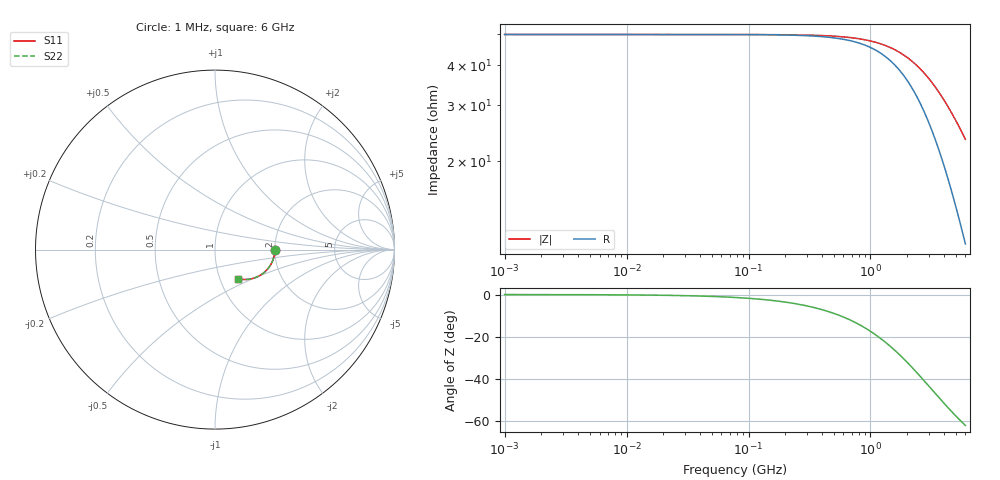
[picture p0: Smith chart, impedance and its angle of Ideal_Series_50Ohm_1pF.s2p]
! Ideal Series 50 Ohm || 1 pF  S2P
# Hz S RI R 50
! Hz ReS11 ImS11 ReS21 ImS21 ReS12 ImS12 ReS22 ImS22
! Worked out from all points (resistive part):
!   501 points, 1 MHz to 6 GHz, reference 50 ohm
!   read as one part in series: R = 50 ohm at 1.035 MHz
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1000000  0.3333 -7e-05  0.6667 7e-05  0.6667 7e-05  0.3333 -7e-05
4312503  0.3333 -0.000301  0.6667 0.000301  0.6667 0.000301  0.3333 -0.000301
1.82769e7  0.3333 -0.00128  0.6667 0.00128  0.6667 0.00128  0.3333 -0.00128
7.881918e7  0.3332 -0.0055  0.6668 0.0055  0.6668 0.0055  0.3332 -0.0055
1.754777e8  0.3329 -0.0122  0.6671 0.0122  0.6671 0.0122  0.3329 -0.0122
2.442258e8  0.3325 -0.017  0.6675 0.017  0.6675 0.017  0.3325 -0.017
3.34045e8  0.3317 -0.0232  0.6683 0.0232  0.6683 0.0232  0.3317 -0.0232
4.984252e8  0.3297 -0.0344  0.6703 0.0344  0.6703 0.0344  0.3297 -0.0344
7.182611e8  0.326 -0.049  0.674 0.049  0.674 0.049  0.326 -0.049
1.035058e9  0.3184 -0.069  0.6816 0.069  0.6816 0.069  0.3184 -0.069
1.210518e9  0.3132 -0.0794  0.6868 0.0794  0.6868 0.0794  0.3132 -0.0794
1.415723e9  0.3064 -0.0908  0.6936 0.0908  0.6936 0.0908  0.3064 -0.0908
1.744431e9  0.2941 -0.1074  0.7059 0.1074  0.7059 0.1074  0.2941 -0.1074
2.14946e9  0.2772 -0.1248  0.7228 0.1248  0.7228 0.1248  0.2772 -0.1248
2.602848e9  0.257 -0.1401  0.743 0.1401  0.743 0.1401  0.257 -0.1401
3.097503e9  0.2346 -0.1522  0.7654 0.1522  0.7654 0.1522  0.2346 -0.1522
3.622584e9  0.2116 -0.1605  0.7884 0.1605  0.7884 0.1605  0.2116 -0.1605
4.236675e9  0.1865 -0.1655  0.8135 0.1655  0.8135 0.1655  0.1865 -0.1655
4.621753e9  0.1721 -0.1666  0.8279 0.1666  0.8279 0.1666  0.1721 -0.1666
5.04183e9  0.1576 -0.1664  0.8424 0.1664  0.8424 0.1664  0.1576 -0.1664
5.794803e9  0.1348 -0.1636  0.8652 0.1636  0.8652 0.1636  0.1348 -0.1636
6e9  0.1292 -0.1624  0.8708 0.1624  0.8708 0.1624  0.1292 -0.1624
